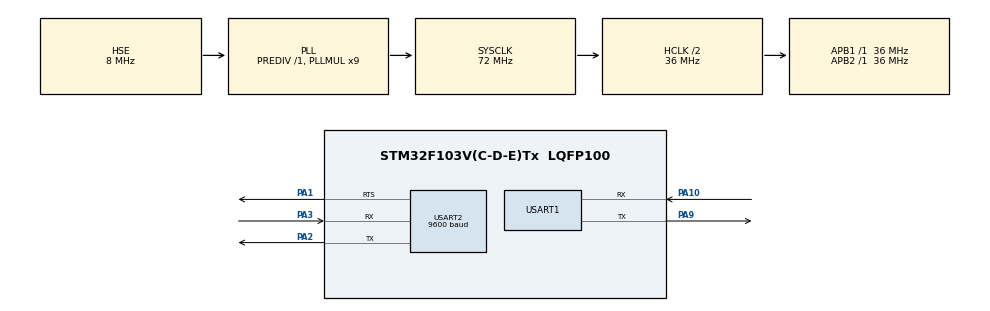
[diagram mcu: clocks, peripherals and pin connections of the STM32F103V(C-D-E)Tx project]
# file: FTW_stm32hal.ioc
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Mcu.Family=STM32F1
Mcu.Name=STM32F103V(C-D-E)Tx
Mcu.Package=LQFP100
NVIC.PriorityGroup=NVIC_PRIORITYGROUP_4
NVIC.RCC_IRQn=true\:0\:0\:false\:false\:true\:true\:false
NVIC.USART1_IRQn=true\:3\:0\:true\:true\:true\:2\:true\:true
NVIC.USART2_IRQn=true\:1\:0\:true\:true\:true\:1\:true\:true
OSC_IN.Mode=HSE-External-Oscillator
OSC_IN.Signal=RCC_OSC_IN
OSC_OUT.Mode=HSE-External-Oscillator
OSC_OUT.Signal=RCC_OSC_OUT
PA1.Mode=RTS_Only
PA1.Signal=USART2_RTS
PA10.Mode=Asynchronous
PA10.Signal=USART1_RX
PA13.Mode=Serial_Wire
PA13.Signal=SYS_JTMS-SWDIO
PA14.Mode=Serial_Wire
PA14.Signal=SYS_JTCK-SWCLK
PA2.Mode=Asynchronous
PA2.Signal=USART2_TX
PA3.Mode=Asynchronous
PA3.Signal=USART2_RX
PA9.Mode=Asynchronous
PA9.Signal=USART1_TX
ProjectManager.HeapSize=0x200
ProjectManager.StackSize=0x400
ProjectManager.TargetToolchain=MDK-ARM V5.32
RCC.AHBCLKDivider=RCC_SYSCLK_DIV2
RCC.AHBFreq_Value=36000000
RCC.APB1Freq_Value=36000000
RCC.APB1TimFreq_Value=36000000
RCC.APB2Freq_Value=36000000
RCC.APB2TimFreq_Value=36000000
RCC.HCLKFreq_Value=36000000
RCC.PLLMUL=RCC_PLL_MUL9
RCC.PLLSourceVirtual=RCC_PLLSOURCE_HSE
RCC.SYSCLKFreq_VALUE=72000000
RCC.SYSCLKSource=RCC_SYSCLKSOURCE_PLLCLK
RCC.USBFreq_Value=72000000
USART1.VirtualMode=VM_ASYNC
USART2.BaudRate=9600
USART2.VirtualMode=VM_ASYNC
board=custom

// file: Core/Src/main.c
/* USER CODE BEGIN Header */
/**
  ******************************************************************************
  * @file           : main.c
  * @brief          : Main program body
  ******************************************************************************
  * @attention
  *
  * Copyright (c) 2023 STMicroelectronics.
  * All rights reserved.
  *
  * This software is licensed under terms that can be found in the LICENSE file
  * in the root directory of this software component.
  * If no LICENSE file comes with this software, it is provided AS-IS.
  *
  ******************************************************************************
  */
/* USER CODE END Header */
#include "main.h"

UART_HandleTypeDef huart1;
UART_HandleTypeDef huart2;

/* USER CODE BEGIN PV */
//UART_HandleTypeDef huart2;
/* USER CODE END PV */

void SystemClock_Config(void);
static void MX_GPIO_Init(void);
static void MX_USART2_UART_Init(void);
static void MX_USART1_UART_Init(void);
static void MX_NVIC_Init(void);

/* USER CODE BEGIN 0 */
#include <stdio.h>
#include <string.h>
#include "wit_c_sdk.h"

int fputc(int ch, FILE *file)
{
    HAL_UART_Transmit(&huart1, (uint8_t*)&ch, 1, 1);
    return ch;
}
uint32_t uiBuad = 115200;
uint8_t ucRxData = 0;
void HAL_UART_RxCpltCallback(UART_HandleTypeDef *huart)
{
  if(huart->Instance==USART2)
  {
      WitSerialDataIn(ucRxData);
      UART_Start_Receive_IT(huart, &ucRxData, 1);
  }
}

#define ACC_UPDATE		0x01
#define GYRO_UPDATE		0x02
#define ANGLE_UPDATE	0x04
#define MAG_UPDATE		0x08
#define READ_UPDATE		0x80
static char s_cDataUpdate = 0;
static void AutoScanSensor(void);
static void SensorUartSend(uint8_t *p_data, uint32_t uiSize);
static void CopeSensorData(uint32_t uiReg, uint32_t uiRegNum);

/* USER CODE END 0 */

int main(void)
{
  /* USER CODE BEGIN 1 */
  float fAcc[3], fGyro[3], fAngle[3], fYaw;
	int i;

  /* USER CODE END 1 */

  /* MCU Configuration--------------------------------------------------------*/

  /* Reset of all peripherals, Initializes the Flash interface and the Systick. */
  HAL_Init();

  /* Configure the system clock */
  SystemClock_Config();

  /* Initialize all configured peripherals */
  MX_GPIO_Init();
  MX_USART2_UART_Init();
  MX_USART1_UART_Init();

  /* Initialize interrupts */
  MX_NVIC_Init();
  /* USER CODE BEGIN 2 */

  WitInit(WIT_PROTOCOL_NORMAL, 0x50);
  WitSerialWriteRegister(SensorUartSend);
  WitRegisterCallBack(CopeSensorData);
printf("\r\n********************** wit-motion normal example	************************\r\n");

  AutoScanSensor();
  printf("1");

  /* USER CODE END 2 */

  /* Infinite loop */
  while (1)
  {

    /* USER CODE BEGIN 3 */
	printf("2");
      HAL_Delay(500);   //避免刷新太快观察不清�?
		if(s_cDataUpdate)
		{
			printf("3");
			for(i = 0; i < 3; i++)
			{
				fAcc[i] = sReg[AX+i] / 32768.0f * 16.0f;
				fGyro[i] = sReg[GX+i] / 32768.0f * 2000.0f;
				fAngle[i] = sReg[Roll+i] / 32768.0f * 180.0f;
			}
			if(s_cDataUpdate & ACC_UPDATE)
			{
				printf("acc:%.3f %.3f %.3f\r\n", fAcc[0], fAcc[1], fAcc[2]);
				s_cDataUpdate &= ~ACC_UPDATE;
			}
			if(s_cDataUpdate & GYRO_UPDATE)
			{
				printf("gyro:%.3f %.3f %.3f\r\n", fGyro[0], fGyro[1], fGyro[2]);
				s_cDataUpdate &= ~GYRO_UPDATE;
			}
			if(s_cDataUpdate & ANGLE_UPDATE)
			{
                fYaw = (float)((unsigned short)sReg[Yaw]) / 32768 * 180.0;
				printf("angle:%.3f %.3f %.3f(%.3f)\r\n", fAngle[0], fAngle[1], fAngle[2], fYaw);
				s_cDataUpdate &= ~ANGLE_UPDATE;
			}
			if(s_cDataUpdate & MAG_UPDATE)
			{
				printf("mag:%d %d %d\r\n", sReg[HX], sReg[HY], sReg[HZ]);
				s_cDataUpdate &= ~MAG_UPDATE;
			}
            s_cDataUpdate = 0;
		}

//	printf("3");

  }

  /* USER CODE END 3 */
}

void SystemClock_Config(void)
{
  RCC_OscInitTypeDef RCC_OscInitStruct = {0};
  RCC_ClkInitTypeDef RCC_ClkInitStruct = {0};

  /** Initializes the RCC Oscillators according to the specified parameters
  * in the RCC_OscInitTypeDef structure.
  */
  RCC_OscInitStruct.OscillatorType = RCC_OSCILLATORTYPE_HSE;
  RCC_OscInitStruct.HSEState = RCC_HSE_ON;
  RCC_OscInitStruct.HSEPredivValue = RCC_HSE_PREDIV_DIV1;
  RCC_OscInitStruct.HSIState = RCC_HSI_ON;
  RCC_OscInitStruct.PLL.PLLState = RCC_PLL_ON;
  RCC_OscInitStruct.PLL.PLLSource = RCC_PLLSOURCE_HSE;
  RCC_OscInitStruct.PLL.PLLMUL = RCC_PLL_MUL9;
  if (HAL_RCC_OscConfig(&RCC_OscInitStruct) != HAL_OK)
  {
    Error_Handler();
  }
  /** Initializes the CPU, AHB and APB buses clocks
  */
  RCC_ClkInitStruct.ClockType = RCC_CLOCKTYPE_HCLK|RCC_CLOCKTYPE_SYSCLK
                              |RCC_CLOCKTYPE_PCLK1|RCC_CLOCKTYPE_PCLK2;
  RCC_ClkInitStruct.SYSCLKSource = RCC_SYSCLKSOURCE_PLLCLK;
  RCC_ClkInitStruct.AHBCLKDivider = RCC_SYSCLK_DIV2;
  RCC_ClkInitStruct.APB1CLKDivider = RCC_HCLK_DIV1;
  RCC_ClkInitStruct.APB2CLKDivider = RCC_HCLK_DIV1;

  if (HAL_RCC_ClockConfig(&RCC_ClkInitStruct, FLASH_LATENCY_2) != HAL_OK)
  {
    Error_Handler();
  }
}

/**
  * @brief NVIC Configuration.
  * @retval None
  */
static void MX_NVIC_Init(void)
{
  /* USART2_IRQn interrupt configuration */
  HAL_NVIC_SetPriority(USART2_IRQn, 1, 0);
  HAL_NVIC_EnableIRQ(USART2_IRQn);
  /* USART1_IRQn interrupt configuration */
  HAL_NVIC_SetPriority(USART1_IRQn, 3, 0);
  HAL_NVIC_EnableIRQ(USART1_IRQn);
}

static void MX_USART1_UART_Init(void)
{

  huart1.Instance = USART1;
  huart1.Init.BaudRate = 115200;
  huart1.Init.WordLength = UART_WORDLENGTH_8B;
  huart1.Init.StopBits = UART_STOPBITS_1;
  huart1.Init.Parity = UART_PARITY_NONE;
  huart1.Init.Mode = UART_MODE_TX_RX;
  huart1.Init.HwFlowCtl = UART_HWCONTROL_NONE;
  huart1.Init.OverSampling = UART_OVERSAMPLING_16;
  if (HAL_UART_Init(&huart1) != HAL_OK)
  {
    Error_Handler();
  }

}

static void MX_USART2_UART_Init(void)
{

  huart2.Instance = USART2;
  huart2.Init.BaudRate = 9600;
  huart2.Init.WordLength = UART_WORDLENGTH_8B;
  huart2.Init.StopBits = UART_STOPBITS_1;
  huart2.Init.Parity = UART_PARITY_NONE;
  huart2.Init.Mode = UART_MODE_TX_RX;
  huart2.Init.HwFlowCtl = UART_HWCONTROL_RTS;
  huart2.Init.OverSampling = UART_OVERSAMPLING_16;
  if (HAL_UART_Init(&huart2) != HAL_OK)
  {
    Error_Handler();
  }
  /* USER CODE BEGIN USART2_Init 2 */
UART_Start_Receive_IT(&huart2, &ucRxData, 1);

	__HAL_UART_ENABLE_IT(&huart2,UART_IT_IDLE);//�����ж�
  /* USER CODE END USART2_Init 2 */

}

static void MX_GPIO_Init(void)
{

  /* GPIO Ports Clock Enable */
  __HAL_RCC_GPIOA_CLK_ENABLE();

}

/* USER CODE BEGIN 4 */

static void SensorUartSend(uint8_t *p_data, uint32_t uiSize)
{
    HAL_UART_Transmit(&huart2, p_data, uiSize, uiSize*4);
}
static void CopeSensorData(uint32_t uiReg, uint32_t uiRegNum)
{
	int i;
    for(i = 0; i < uiRegNum; i++)
    {
        switch(uiReg)
        {
            case AZ:
				s_cDataUpdate |= ACC_UPDATE;
            break;
            case GZ:
				s_cDataUpdate |= GYRO_UPDATE;
            break;
            case HZ:
				s_cDataUpdate |= MAG_UPDATE;
            break;
            case Yaw:
				s_cDataUpdate |= ANGLE_UPDATE;
            break;
            default:
				s_cDataUpdate |= READ_UPDATE;
			break;
        }
		uiReg++;
    }
}

static void AutoScanSensor(void)
{
	const uint32_t c_uiBaud[9] = {4800, 9600, 19200, 38400, 57600, 115200, 230400, 460800, 921600};
	int i, iRetry;

	for(i = 0; i < 9; i++)
	{
        uiBuad = c_uiBaud[i];
        MX_USART2_UART_Init();
		iRetry = 2;
		do
		{
			s_cDataUpdate = 0;
			WitReadReg(AX, 3);
			HAL_Delay(100);
			if(s_cDataUpdate != 0)
			{
				printf("%d baud find sensor\r\n\r\n", c_uiBaud[i]);
				return ;
			}
			iRetry--;
		}while(iRetry);
	}
	printf("can not find sensor\r\n");
	printf("please check your connection\r\n");
}

/* USER CODE END 4 */

void Error_Handler(void)
{
  __disable_irq();
  while (1)
  {
  }
}
